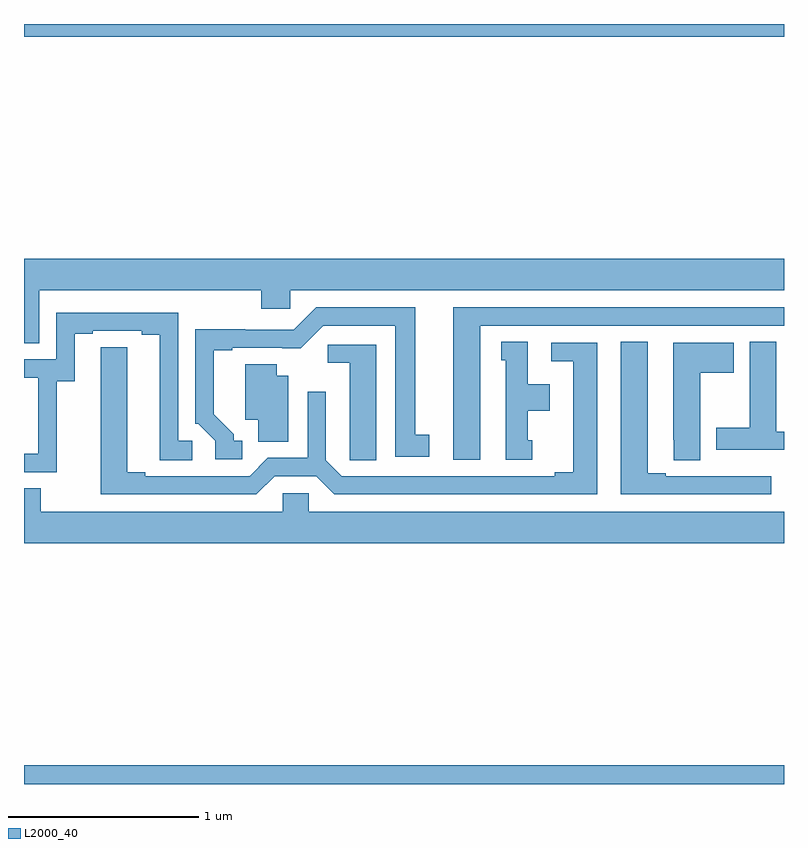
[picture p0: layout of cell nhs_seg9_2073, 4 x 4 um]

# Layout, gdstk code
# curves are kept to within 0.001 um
import gdstk
lib = gdstk.Library(unit=1e-6, precision=1e-09)
def R(c, l, rs):  # rectangles x0, y0, x1, y1
    for r in rs: c.add(gdstk.rectangle(r[:2], r[2:], *l))
def P(c, l, *ps):  # polygons
    for p in ps: c.add(gdstk.Polygon(p, *l))
L2000_40 = (2000, 40)

nhs_seg9_2073 = lib.new_cell('nhs_seg9_2073')
R(nhs_seg9_2073, L2000_40, [(229,1180.5,233,1180.6), (229,1184.432,233,1184.5)])
P(nhs_seg9_2073, L2000_40, [(229.081,1183.1),(230.249,1183.1),(230.249,1183.002),(230.4,1183.002),(230.4,1183.1),(233,1183.1),(233,1183.264),(229,1183.264),(229,1182.82),(229.081,1182.82)],
  [(230.149,1182.306),(230.104,1182.306),(230.104,1182.341),(229.999,1182.446),(229.999,1182.783),(230.095,1182.783),(230.095,1182.795),(230.456,1182.794),(230.574,1182.912),(230.954,1182.912),(230.954,1182.222),(231.133,1182.222),(231.133,1182.338),(231.058,1182.338),(231.058,1183.008),(230.538,1183.008),(230.421,1182.891),(230.165,1182.891),(230.165,1182.893),(229.902,1182.893),(229.902,1182.396),(229.917,1182.396),(230.007,1182.306),(230.007,1182.21),(230.149,1182.21)],
  [(231.4,1182.912),(233,1182.912),(233,1183.008),(231.26,1183.008),(231.26,1182.207),(231.4,1182.207)],
  [(229.173,1182.619),(229.267,1182.619),(229.267,1182.87),(229.363,1182.87),(229.363,1182.885),(229.619,1182.885),(229.619,1182.865),(229.715,1182.865),(229.715,1182.205),(229.885,1182.205),(229.885,1182.306),(229.812,1182.306),(229.812,1182.981),(229.17,1182.981),(229.17,1182.735),(229,1182.735),(229,1182.639),(229.074,1182.639),(229.074,1182.238),(229.073,1182.238),(229.073,1182.237),(229,1182.237),(229,1182.141),(229.173,1182.141)],
  [(232.933,1182.12),(232.82,1182.12),(232.82,1182.121),(232.654,1182.121),(232.654,1182.12),(232.378,1182.12),(232.378,1182.135),(232.282,1182.135),(232.282,1182.827),(232.142,1182.827),(232.142,1182.024),(232.933,1182.024)],
  [(233,1182.354),(232.96,1182.354),(232.96,1182.716),(232.959,1182.716),(232.959,1182.827),(232.82,1182.827),(232.82,1182.375),(232.643,1182.375),(232.643,1182.258),(233,1182.258)],
  [(231.676,1182.309),(231.652,1182.309),(231.652,1182.464),(231.766,1182.464),(231.766,1182.604),(231.652,1182.604),(231.652,1182.827),(231.512,1182.827),(231.512,1182.729),(231.536,1182.729),(231.536,1182.207),(231.676,1182.207)],
  [(232.558,1182.664),(232.735,1182.664),(232.735,1182.823),(232.418,1182.823),(232.418,1182.313),(232.419,1182.313),(232.419,1182.205),(232.558,1182.205)],
  [(230.319,1182.12),(230.537,1182.12),(230.633,1182.024),(232.018,1182.024),(232.018,1182.822),(231.774,1182.822),(231.774,1182.726),(231.89,1182.726),(231.89,1182.14),(231.794,1182.14),(231.794,1182.12),(230.673,1182.12),(230.589,1182.204),(230.589,1182.565),(230.493,1182.565),(230.493,1182.216),(230.283,1182.216),(230.187,1182.12),(229.639,1182.12),(229.639,1182.14),(229.543,1182.14),(229.543,1182.8),(229.404,1182.8),(229.403,1182.024),(230.223,1182.024)],
  [(230.854,1182.813),(230.598,1182.813),(230.598,1182.716),(230.714,1182.716),(230.714,1182.313),(230.715,1182.313),(230.715,1182.205),(230.854,1182.205)],
  [(230.392,1182.649),(230.329,1182.649),(230.329,1182.71),(230.165,1182.71),(230.165,1182.416),(230.234,1182.416),(230.234,1182.301),(230.392,1182.301)],
  [(233,1181.932),(230.499,1181.932),(230.499,1182.03),(230.361,1182.03),(230.361,1181.932),(229.089,1181.932),(229.089,1182.056),(229,1182.056),(229,1181.768),(233,1181.768)])

lib.write_gds('nhs_seg9_2073.gds')
